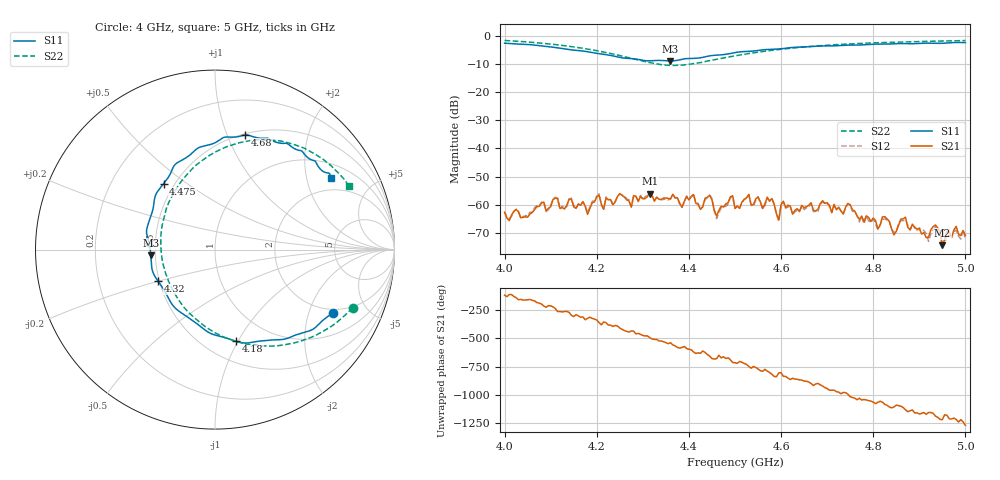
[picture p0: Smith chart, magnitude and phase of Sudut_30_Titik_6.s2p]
# Hz S RI R 50
! CMT, C1220, 16058040, 17.2.0/1
! Date: 15/08/2018 12:08:48
! Data: Format (Calibration Info)
! Freq  S11: Re/Im (F2)  S21: Re/Im (F2)  S12: Re/Im (F2)  S22: Re/Im (F2)
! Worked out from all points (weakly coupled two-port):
!   201 points, 4 GHz to 5 GHz, reference 50 ohm
!   highest |S21| = -56.07 dB at 4.315 GHz (marker M1); lowest = -74.4 dB at 4.95 GHz (marker M2)
!   lowest |S11| = -8.9 dB at 4.36 GHz (marker M3), VSWR 2.12, Z = 23.6 - j1.68 ohm
!   |S11| at or under -10 dB: nowhere
!   |S22| runs from -10.5 to -1.6 dB; largest |S21 - S12| = 0.00013
!   S11 on the Smith chart (normalised r, x): 4 GHz: 1.83, -2.89; 4.18 GHz: 0.70, -0.98; 4.32 GHz: 0.49, -0.20; 4.475 GHz: 0.44, +0.41; 4.68 GHz: 0.51, +1.16; 5 GHz: 1.47, +2.81
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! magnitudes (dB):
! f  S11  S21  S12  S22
! 4 GHz  -2.6  -62.8  -62.4  -1.6
! 4.17 GHz  -5.4  -59.0  -58.9  -4.4
! 4.18 GHz  -5.6  -63.5  -62.7  -4.7
! 4.205 GHz  -6.3  -56.6  -56.1  -5.4
! 4.215 GHz  -6.5  -61.6  -61.5  -5.7
! 4.315 GHz  -8.9  -56.1  -55.9  -9.5
! 4.32 GHz  -8.8  -56.7  -56.8  -9.6
! 4.335 GHz  -8.7  -58.1  -57.8  -10.1
! 4.36 GHz  -8.9  -58.0  -58.0  -10.5
! 4.475 GHz  -6.6  -60.8  -60.9  -7.9
! 4.5 GHz  -5.9  -61.4  -61.3  -7.1
! 4.53 GHz  -5.5  -56.4  -56.4  -6.2
! 4.58 GHz  -4.7  -57.8  -58.0  -5.1
! 4.595 GHz  -4.6  -65.5  -66.0  -4.8
! 4.605 GHz  -4.5  -58.8  -59.1  -4.6
! 4.67 GHz  -3.7  -61.9  -62.4  -3.6
! 4.68 GHz  -3.6  -61.6  -62.4  -3.5
! 4.835 GHz  -2.9  -66.0  -66.0  -2.3
! 4.92 GHz  -2.6  -71.6  -73.0  -1.9
! 4.935 GHz  -2.6  -67.2  -67.9  -1.8
! 4.95 GHz  -2.6  -74.4  -74.8  -1.8
! 5 GHz  -2.4  -70.9  -72.2  -1.6
